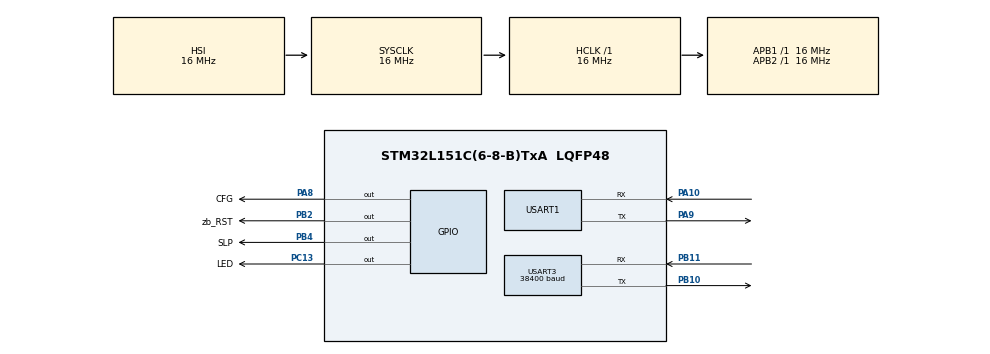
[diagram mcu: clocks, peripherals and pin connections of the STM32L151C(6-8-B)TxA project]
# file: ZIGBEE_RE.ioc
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Dma.Request0=USART3_RX
Dma.Request1=USART3_TX
Dma.USART3_RX.0.Direction=DMA_PERIPH_TO_MEMORY
Dma.USART3_RX.0.Instance=DMA1_Channel3
Dma.USART3_RX.0.MemDataAlignment=DMA_MDATAALIGN_BYTE
Dma.USART3_RX.0.MemInc=DMA_MINC_ENABLE
Dma.USART3_RX.0.Mode=DMA_NORMAL
Dma.USART3_RX.0.PeriphDataAlignment=DMA_PDATAALIGN_BYTE
Dma.USART3_RX.0.PeriphInc=DMA_PINC_DISABLE
Dma.USART3_RX.0.Priority=DMA_PRIORITY_LOW
Dma.USART3_TX.1.Direction=DMA_MEMORY_TO_PERIPH
Dma.USART3_TX.1.Instance=DMA1_Channel2
Dma.USART3_TX.1.MemDataAlignment=DMA_MDATAALIGN_BYTE
Dma.USART3_TX.1.MemInc=DMA_MINC_ENABLE
Dma.USART3_TX.1.Mode=DMA_NORMAL
Dma.USART3_TX.1.PeriphDataAlignment=DMA_PDATAALIGN_BYTE
Dma.USART3_TX.1.PeriphInc=DMA_PINC_DISABLE
Dma.USART3_TX.1.Priority=DMA_PRIORITY_LOW
Mcu.Family=STM32L1
Mcu.Name=STM32L151C(6-8-B)TxA
Mcu.Package=LQFP48
NVIC.DMA1_Channel2_IRQn=true\:1\:0\:true\:false\:true\:false\:true\:true
NVIC.DMA1_Channel3_IRQn=true\:1\:0\:true\:false\:true\:false\:true\:true
NVIC.PriorityGroup=NVIC_PRIORITYGROUP_4
NVIC.USART3_IRQn=true\:1\:0\:true\:false\:true\:false\:true\:true
PA10.Mode=Asynchronous
PA10.Signal=USART1_RX
PA13.Mode=Serial_Wire
PA13.Signal=SYS_JTMS-SWDIO
PA14.Mode=Serial_Wire
PA14.Signal=SYS_JTCK-SWCLK
PA8.GPIO_Label=CFG
PA8.PinState=GPIO_PIN_SET
PA8.Signal=GPIO_Output
PA9.Mode=Asynchronous
PA9.Signal=USART1_TX
PB10.Mode=Asynchronous
PB10.Signal=USART3_TX
PB11.Mode=Asynchronous
PB11.Signal=USART3_RX
PB2.GPIO_Label=zb_RST
PB2.PinState=GPIO_PIN_SET
PB2.Signal=GPIO_Output
PB4.GPIO_Label=SLP
PB4.PinState=GPIO_PIN_SET
PB4.Signal=GPIO_Output
PC13-WKUP2.GPIO_Label=LED
PC13-WKUP2.GPIO_ModeDefaultOutputPP=GPIO_MODE_OUTPUT_OD
PC13-WKUP2.GPIO_PuPd=GPIO_NOPULL
PC13-WKUP2.Signal=GPIO_Output
ProjectManager.HeapSize=0x200
ProjectManager.StackSize=0x400
ProjectManager.TargetToolchain=MDK-ARM V5.32
RCC.AHBFreq_Value=16000000
RCC.APB1Freq_Value=16000000
RCC.APB1TimFreq_Value=16000000
RCC.APB2Freq_Value=16000000
RCC.APB2TimFreq_Value=16000000
RCC.HCLKFreq_Value=16000000
RCC.HSE_VALUE=24000000
RCC.HSI_VALUE=16000000
RCC.LSE_VALUE=32768
RCC.MSI_VALUE=2097000
RCC.SYSCLKFreq_VALUE=16000000
RCC.SYSCLKSource=RCC_SYSCLKSOURCE_HSI
RCC.VCOOutputFreq_Value=48000000
USART1.VirtualMode=VM_ASYNC
USART3.BaudRate=38400
USART3.VirtualMode=VM_ASYNC
board=custom

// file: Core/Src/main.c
/* USER CODE BEGIN Header */
/**
 ******************************************************************************
 * @file           : main.c
 * @brief          : Main program body
 ******************************************************************************
 * @attention
 *
 * Copyright (c) 2026 STMicroelectronics.
 * All rights reserved.
 *
 * This software is licensed under terms that can be found in the LICENSE file
 * in the root directory of this software component.
 * If no LICENSE file comes with this software, it is provided AS-IS.
 *
 ******************************************************************************
 */
/* USER CODE END Header */
#include "main.h"
#include "dma.h"
#include "usart.h"
#include "gpio.h"

/* USER CODE BEGIN Includes */
#include "zigbee.h"
/* USER CODE END Includes */

/* USER CODE BEGIN PTD */
#define Uart3_len 4
/* USER CODE END PTD */

/* USER CODE BEGIN PD */
volatile uint8_t flag_Uart3RX = RESET;
uint8_t RXbuffer_Uart3[Uart3_len];
uint8_t TXbuffer_Uart3[Uart3_len];
/* USER CODE END PD */

void SystemClock_Config(void);

int main(void)
{

    /* MCU Configuration--------------------------------------------------------*/

    /* Reset of all peripherals, Initializes the Flash interface and the Systick. */
    HAL_Init();

    /* Configure the system clock */
    SystemClock_Config();

    /* Initialize all configured peripherals */
    MX_GPIO_Init();
    MX_DMA_Init();
    MX_USART1_UART_Init();
    MX_USART3_UART_Init();
    /* USER CODE BEGIN 2 */
		HAL_Delay(500);//等待电平稳定
    Zigbee_CFGinit(MainPoint);
    HAL_Delay(1000); // 等待节点联网
    HAL_UART_Transmit(&huart1, (uint8_t *)"At Your Service\n", 16, 500);
    HAL_UART_Receive_DMA(&huart3, RXbuffer_Uart3, Uart3_len);
    /* USER CODE END 2 */

    /* Infinite loop */
    /* USER CODE BEGIN WHILE */
    while (1)
    {
        if (flag_Uart3RX == SET)
        {
            for (uint8_t i = 0; i < Uart3_len; i++)
            {
                TXbuffer_Uart3[i] = RXbuffer_Uart3[i];
            }
            HAL_UART_Transmit(&huart1, TXbuffer_Uart3,Uart3_len,500);
            for (uint8_t i = 0; i < Uart3_len; i++)
            {
                TXbuffer_Uart3[i] = 0;
            }
            flag_Uart3RX = RESET;
        }
        else
        {
            led_on;
            HAL_Delay(100);
            led_off;
            HAL_Delay(100);
        }

        /* USER CODE END WHILE */

    }
}

void SystemClock_Config(void)
{
    RCC_OscInitTypeDef RCC_OscInitStruct = {0};
    RCC_ClkInitTypeDef RCC_ClkInitStruct = {0};

    /** Configure the main internal regulator output voltage
     */
    __HAL_PWR_VOLTAGESCALING_CONFIG(PWR_REGULATOR_VOLTAGE_SCALE1);

    /** Initializes the RCC Oscillators according to the specified parameters
     * in the RCC_OscInitTypeDef structure.
     */
    RCC_OscInitStruct.OscillatorType = RCC_OSCILLATORTYPE_HSI;
    RCC_OscInitStruct.HSIState = RCC_HSI_ON;
    RCC_OscInitStruct.HSICalibrationValue = RCC_HSICALIBRATION_DEFAULT;
    RCC_OscInitStruct.PLL.PLLState = RCC_PLL_NONE;
    if (HAL_RCC_OscConfig(&RCC_OscInitStruct) != HAL_OK)
    {
        Error_Handler();
    }

    /** Initializes the CPU, AHB and APB buses clocks
     */
    RCC_ClkInitStruct.ClockType = RCC_CLOCKTYPE_HCLK | RCC_CLOCKTYPE_SYSCLK | RCC_CLOCKTYPE_PCLK1 | RCC_CLOCKTYPE_PCLK2;
    RCC_ClkInitStruct.SYSCLKSource = RCC_SYSCLKSOURCE_HSI;
    RCC_ClkInitStruct.AHBCLKDivider = RCC_SYSCLK_DIV1;
    RCC_ClkInitStruct.APB1CLKDivider = RCC_HCLK_DIV1;
    RCC_ClkInitStruct.APB2CLKDivider = RCC_HCLK_DIV1;

    if (HAL_RCC_ClockConfig(&RCC_ClkInitStruct, FLASH_LATENCY_0) != HAL_OK)
    {
        Error_Handler();
    }
}

/* USER CODE BEGIN 4 */
void HAL_UART_RxCpltCallback(UART_HandleTypeDef *huart)
{
    if (huart->Instance == USART3)
    {
        flag_Uart3RX = SET;
        HAL_UART_Receive_DMA(&huart3, RXbuffer_Uart3, Uart3_len);
    }
}
/* USER CODE END 4 */

void Error_Handler(void)
{
    __disable_irq();
    while (1)
    {
    }
}
